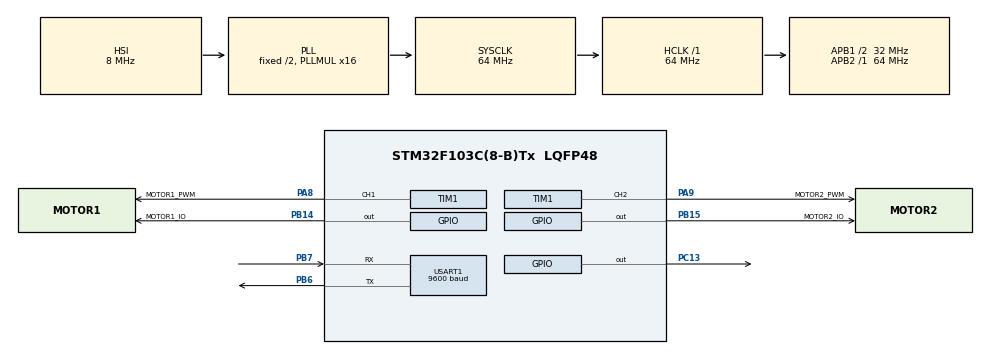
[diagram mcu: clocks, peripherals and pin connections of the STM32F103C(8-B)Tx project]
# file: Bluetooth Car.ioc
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Mcu.Family=STM32F1
Mcu.Name=STM32F103C(8-B)Tx
Mcu.Package=LQFP48
NVIC.PriorityGroup=NVIC_PRIORITYGROUP_4
NVIC.USART1_IRQn=true\:1\:0\:true\:false\:true\:true\:true\:true
PA13.Mode=Serial_Wire
PA13.Signal=SYS_JTMS-SWDIO
PA14.Mode=Serial_Wire
PA14.Signal=SYS_JTCK-SWCLK
PA8.GPIO_Label=MOTOR1_PWM
PA8.Signal=S_TIM1_CH1
PA9.GPIO_Label=MOTOR2_PWM
PA9.Signal=S_TIM1_CH2
PB14.GPIO_Label=MOTOR1_IO
PB14.Signal=GPIO_Output
PB15.GPIO_Label=MOTOR2_IO
PB15.Signal=GPIO_Output
PB6.Mode=Asynchronous
PB6.Signal=USART1_TX
PB7.Mode=Asynchronous
PB7.Signal=USART1_RX
PC13-TAMPER-RTC.Signal=GPIO_Output
PD0-OSC_IN.Mode=HSE-External-Oscillator
PD0-OSC_IN.Signal=RCC_OSC_IN
PD1-OSC_OUT.Mode=HSE-External-Oscillator
PD1-OSC_OUT.Signal=RCC_OSC_OUT
ProjectManager.HeapSize=0x200
ProjectManager.StackSize=0x400
ProjectManager.TargetToolchain=STM32CubeIDE
RCC.AHBFreq_Value=64000000
RCC.APB1CLKDivider=RCC_HCLK_DIV2
RCC.APB1Freq_Value=32000000
RCC.APB1TimFreq_Value=64000000
RCC.APB2Freq_Value=64000000
RCC.APB2TimFreq_Value=64000000
RCC.HCLKFreq_Value=64000000
RCC.PLLMUL=RCC_PLL_MUL16
RCC.SYSCLKFreq_VALUE=64000000
RCC.SYSCLKSource=RCC_SYSCLKSOURCE_PLLCLK
RCC.USBFreq_Value=64000000
SH.S_TIM1_CH1.0=TIM1_CH1,PWM Generation1 CH1
SH.S_TIM1_CH2.0=TIM1_CH2,PWM Generation2 CH2
TIM1.Channel-PWM\ Generation1\ CH1=TIM_CHANNEL_1
TIM1.Channel-PWM\ Generation2\ CH2=TIM_CHANNEL_2
TIM1.Period=999
TIM1.Prescaler=63
USART1.BaudRate=9600
USART1.VirtualMode=VM_ASYNC
board=custom

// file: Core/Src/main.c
/* USER CODE BEGIN Header */
/**
  ******************************************************************************
  * @file           : main.c
  * @brief          : Main program body
  ******************************************************************************
  * @attention
  *
  * Copyright (c) 2024 STMicroelectronics.
  * All rights reserved.
  *
  * This software is licensed under terms that can be found in the LICENSE file
  * in the root directory of this software component.
  * If no LICENSE file comes with this software, it is provided AS-IS.
  *
  ******************************************************************************
  */
/* USER CODE END Header */
#include "main.h"

/* USER CODE BEGIN Includes */
#include "Pwm.h"
#include "Car.h"
/* USER CODE END Includes */

/* USER CODE BEGIN PTD */
;
/* USER CODE END PTD */

TIM_HandleTypeDef htim1;

UART_HandleTypeDef huart1;

void SystemClock_Config(void);
static void MX_GPIO_Init(void);
static void MX_TIM1_Init(void);
static void MX_USART1_UART_Init(void);

/* USER CODE BEGIN 0 */
uint8_t data_rx; //Tin hieu nhan ve
uint8_t uart_flag = 0;
uint8_t car_speed = 100;
void HAL_UART_RxCpltCallback(UART_HandleTypeDef *huart)
{
	if (huart->Instance == huart1.Instance)
	{
		uart_flag = 1;
		HAL_UART_Receive_IT(&huart1, &data_rx, 1);
	}
}
/* USER CODE END 0 */

int main(void)
{

  /* MCU Configuration--------------------------------------------------------*/

  /* Reset of all peripherals, Initializes the Flash interface and the Systick. */
  HAL_Init();

  /* Configure the system clock */
  SystemClock_Config();

  /* Initialize all configured peripherals */
  MX_GPIO_Init();
  MX_TIM1_Init();
  MX_USART1_UART_Init();
  /* USER CODE BEGIN 2 */
  car_init(&htim1);
  HAL_UART_Receive_IT(&huart1, &data_rx, 1);
  /* USER CODE END 2 */

  /* Infinite loop */
  while (1)
  {

    /* USER CODE BEGIN 3 */
	  if (uart_flag)
	  {
		  HAL_GPIO_WritePin(GPIOC, GPIO_PIN_13, 0);
//------------------------Disable Xe-----------------------------
		  if (data_rx == 'X')
		  {
			  while (data_rx != 'x')
			  {
				  car_control(CAR_STOP_STATE, 0);
				  HAL_GPIO_WritePin(GPIOC, GPIO_PIN_13, 1);
			  }
		  }
//----------------------Dieu khien xe-----------------------------
		  switch(data_rx)
		  {
		  case 'S':
			  car_control(CAR_STOP_STATE, 0);
			  break;
		  case 'F':
			  car_control(CAR_FORWARD_STATE, car_speed);
			  break;
		  case 'B':
			  car_control(CAR_BACKWARD_STATE, car_speed);
			  break;
		  case 'L':
			  car_control(CAR_LEFT_STATE, car_speed);
			  break;
		  case 'R':
			  car_control(CAR_RIGHT_STATE, car_speed);
			  break;
		  default:
//--------------------------Dieu khien toc do cua xe-------------
			  if (data_rx >= '0' && data_rx <= '9')
			  {
				  car_speed = (data_rx - '0')*10;
			  }
			  else if (data_rx == 'q')
			  {
				  car_speed = 100;
			  }
			  break;
		  }

		  uart_flag = 0;
	  }
  }
  /* USER CODE END 3 */
}

void SystemClock_Config(void)
{
  RCC_OscInitTypeDef RCC_OscInitStruct = {0};
  RCC_ClkInitTypeDef RCC_ClkInitStruct = {0};

  /** Initializes the RCC Oscillators according to the specified parameters
  * in the RCC_OscInitTypeDef structure.
  */
  RCC_OscInitStruct.OscillatorType = RCC_OSCILLATORTYPE_HSI;
  RCC_OscInitStruct.HSIState = RCC_HSI_ON;
  RCC_OscInitStruct.HSICalibrationValue = RCC_HSICALIBRATION_DEFAULT;
  RCC_OscInitStruct.PLL.PLLState = RCC_PLL_ON;
  RCC_OscInitStruct.PLL.PLLSource = RCC_PLLSOURCE_HSI_DIV2;
  RCC_OscInitStruct.PLL.PLLMUL = RCC_PLL_MUL16;
  if (HAL_RCC_OscConfig(&RCC_OscInitStruct) != HAL_OK)
  {
    Error_Handler();
  }

  /** Initializes the CPU, AHB and APB buses clocks
  */
  RCC_ClkInitStruct.ClockType = RCC_CLOCKTYPE_HCLK|RCC_CLOCKTYPE_SYSCLK
                              |RCC_CLOCKTYPE_PCLK1|RCC_CLOCKTYPE_PCLK2;
  RCC_ClkInitStruct.SYSCLKSource = RCC_SYSCLKSOURCE_PLLCLK;
  RCC_ClkInitStruct.AHBCLKDivider = RCC_SYSCLK_DIV1;
  RCC_ClkInitStruct.APB1CLKDivider = RCC_HCLK_DIV2;
  RCC_ClkInitStruct.APB2CLKDivider = RCC_HCLK_DIV1;

  if (HAL_RCC_ClockConfig(&RCC_ClkInitStruct, FLASH_LATENCY_2) != HAL_OK)
  {
    Error_Handler();
  }
}

static void MX_TIM1_Init(void)
{

  TIM_MasterConfigTypeDef sMasterConfig = {0};
  TIM_OC_InitTypeDef sConfigOC = {0};
  TIM_BreakDeadTimeConfigTypeDef sBreakDeadTimeConfig = {0};

  htim1.Instance = TIM1;
  htim1.Init.Prescaler = 63;
  htim1.Init.CounterMode = TIM_COUNTERMODE_UP;
  htim1.Init.Period = 999;
  htim1.Init.ClockDivision = TIM_CLOCKDIVISION_DIV1;
  htim1.Init.RepetitionCounter = 0;
  htim1.Init.AutoReloadPreload = TIM_AUTORELOAD_PRELOAD_DISABLE;
  if (HAL_TIM_PWM_Init(&htim1) != HAL_OK)
  {
    Error_Handler();
  }
  sMasterConfig.MasterOutputTrigger = TIM_TRGO_RESET;
  sMasterConfig.MasterSlaveMode = TIM_MASTERSLAVEMODE_DISABLE;
  if (HAL_TIMEx_MasterConfigSynchronization(&htim1, &sMasterConfig) != HAL_OK)
  {
    Error_Handler();
  }
  sConfigOC.OCMode = TIM_OCMODE_PWM1;
  sConfigOC.Pulse = 0;
  sConfigOC.OCPolarity = TIM_OCPOLARITY_HIGH;
  sConfigOC.OCNPolarity = TIM_OCNPOLARITY_HIGH;
  sConfigOC.OCFastMode = TIM_OCFAST_DISABLE;
  sConfigOC.OCIdleState = TIM_OCIDLESTATE_RESET;
  sConfigOC.OCNIdleState = TIM_OCNIDLESTATE_RESET;
  if (HAL_TIM_PWM_ConfigChannel(&htim1, &sConfigOC, TIM_CHANNEL_1) != HAL_OK)
  {
    Error_Handler();
  }
  if (HAL_TIM_PWM_ConfigChannel(&htim1, &sConfigOC, TIM_CHANNEL_2) != HAL_OK)
  {
    Error_Handler();
  }
  sBreakDeadTimeConfig.OffStateRunMode = TIM_OSSR_DISABLE;
  sBreakDeadTimeConfig.OffStateIDLEMode = TIM_OSSI_DISABLE;
  sBreakDeadTimeConfig.LockLevel = TIM_LOCKLEVEL_OFF;
  sBreakDeadTimeConfig.DeadTime = 0;
  sBreakDeadTimeConfig.BreakState = TIM_BREAK_DISABLE;
  sBreakDeadTimeConfig.BreakPolarity = TIM_BREAKPOLARITY_HIGH;
  sBreakDeadTimeConfig.AutomaticOutput = TIM_AUTOMATICOUTPUT_DISABLE;
  if (HAL_TIMEx_ConfigBreakDeadTime(&htim1, &sBreakDeadTimeConfig) != HAL_OK)
  {
    Error_Handler();
  }
  HAL_TIM_MspPostInit(&htim1);

}

static void MX_USART1_UART_Init(void)
{

  huart1.Instance = USART1;
  huart1.Init.BaudRate = 9600;
  huart1.Init.WordLength = UART_WORDLENGTH_8B;
  huart1.Init.StopBits = UART_STOPBITS_1;
  huart1.Init.Parity = UART_PARITY_NONE;
  huart1.Init.Mode = UART_MODE_TX_RX;
  huart1.Init.HwFlowCtl = UART_HWCONTROL_NONE;
  huart1.Init.OverSampling = UART_OVERSAMPLING_16;
  if (HAL_UART_Init(&huart1) != HAL_OK)
  {
    Error_Handler();
  }

}

static void MX_GPIO_Init(void)
{
  GPIO_InitTypeDef GPIO_InitStruct = {0};

  /* GPIO Ports Clock Enable */
  __HAL_RCC_GPIOC_CLK_ENABLE();
  __HAL_RCC_GPIOD_CLK_ENABLE();
  __HAL_RCC_GPIOB_CLK_ENABLE();
  __HAL_RCC_GPIOA_CLK_ENABLE();

  /*Configure GPIO pin Output Level */
  HAL_GPIO_WritePin(GPIOC, GPIO_PIN_13, GPIO_PIN_RESET);

  /*Configure GPIO pin Output Level */
  HAL_GPIO_WritePin(GPIOB, MOTOR1_IO_Pin|MOTOR2_IO_Pin, GPIO_PIN_RESET);

  /*Configure GPIO pin : PC13 */
  GPIO_InitStruct.Pin = GPIO_PIN_13;
  GPIO_InitStruct.Mode = GPIO_MODE_OUTPUT_PP;
  GPIO_InitStruct.Pull = GPIO_NOPULL;
  GPIO_InitStruct.Speed = GPIO_SPEED_FREQ_LOW;
  HAL_GPIO_Init(GPIOC, &GPIO_InitStruct);

  /*Configure GPIO pins : MOTOR1_IO_Pin MOTOR2_IO_Pin */
  GPIO_InitStruct.Pin = MOTOR1_IO_Pin|MOTOR2_IO_Pin;
  GPIO_InitStruct.Mode = GPIO_MODE_OUTPUT_PP;
  GPIO_InitStruct.Pull = GPIO_NOPULL;
  GPIO_InitStruct.Speed = GPIO_SPEED_FREQ_LOW;
  HAL_GPIO_Init(GPIOB, &GPIO_InitStruct);

}

void Error_Handler(void)
{
  __disable_irq();
  while (1)
  {
  }
}
